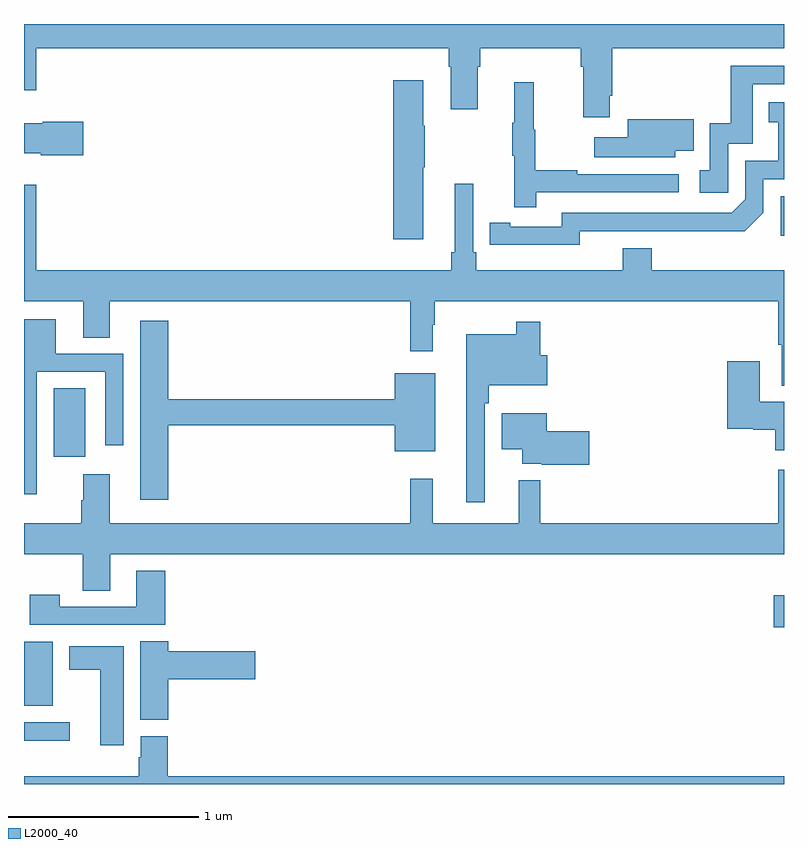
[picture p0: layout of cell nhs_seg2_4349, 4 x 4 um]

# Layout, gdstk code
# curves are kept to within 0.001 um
import gdstk
lib = gdstk.Library(unit=1e-6, precision=1e-09)
def R(c, l, rs):  # rectangles x0, y0, x1, y1
    for r in rs: c.add(gdstk.rectangle(r[:2], r[2:], *l))
def P(c, l, *ps):  # polygons
    for p in ps: c.add(gdstk.Polygon(p, *l))
L2000_40 = (2000, 40)

nhs_seg2_4349 = lib.new_cell('nhs_seg2_4349')
R(nhs_seg2_4349, L2000_40, [(347,608.027,347.242,608.124), (347,608.213,347.152,608.548), (350.946,608.624,351,608.794), (347.156,609.522,347.323,609.884), (350.982,610.686,351,610.893)])
P(nhs_seg2_4349, L2000_40, [(350.083,611.422),(350.096,611.422),(350.096,611.672),(351,611.672),(351,611.8),(347,611.8),(347,611.451),(347.065,611.451),(347.065,611.672),(349.235,611.672),(349.235,611.576),(349.247,611.576),(349.247,611.352),(349.387,611.352),(349.387,611.576),(349.4,611.576),(349.4,611.672),(349.931,611.672),(349.931,611.576),(349.943,611.576),(349.943,611.31),(350.083,611.31)],
  [(350.706,611.169),(350.835,611.169),(350.835,611.484),(351,611.484),(351,611.58),(350.719,611.58),(350.719,611.278),(350.61,611.278),(350.61,611.031),(350.556,611.031),(350.556,610.911),(350.706,610.911)],
  [(349.102,611.047),(349.11,611.047),(349.11,611.264),(349.102,611.264),(349.102,611.503),(348.944,611.503),(348.944,610.668),(349.102,610.668)],
  [(349.697,610.914),(350.446,610.914),(350.446,611.01),(349.913,611.01),(349.913,611.03),(349.69,611.03),(349.69,611.244),(349.682,611.244),(349.682,611.494),(349.58,611.494),(349.58,611.281),(349.569,611.281),(349.569,611.107),(349.58,611.107),(349.58,610.836),(349.697,610.836)],
  [(349.926,610.71),(350.794,610.709),(350.892,610.806),(350.892,610.983),(351,610.983),(351,611.389),(350.92,611.389),(350.92,611.283),(350.969,611.283),(350.969,611.079),(350.796,611.079),(350.796,610.878),(350.724,610.806),(349.83,610.806),(349.83,610.734),(349.558,610.734),(349.558,610.754),(349.45,610.754),(349.45,610.638),(349.926,610.637)],
  [(350.428,611.132),(350.525,611.132),(350.525,611.298),(350.177,611.298),(350.177,611.203),(350.001,611.203),(350.001,611.099),(350.428,611.099)],
  [(347.311,611.286),(347.098,611.286),(347.098,611.278),(347,611.278),(347,611.12),(347.088,611.12),(347.088,611.108),(347.311,611.108)],
  [(351,610.504),(350.303,610.504),(350.303,610.621),(350.15,610.621),(350.15,610.504),(349.379,610.504),(349.379,610.6),(349.365,610.6),(349.365,610.96),(349.268,610.96),(349.268,610.6),(349.249,610.6),(349.249,610.504),(347.065,610.504),(347.065,610.954),(347,610.954),(347,610.34),(347.312,610.34),(347.312,610.15),(347.452,610.15),(347.452,610.34),(349.033,610.34),(349.033,610.077),(349.15,610.077),(349.15,610.217),(349.162,610.217),(349.162,610.34),(350.97,610.34),(350.97,610.111),(350.987,610.111),(350.987,609.896),(351,609.896)],
  [(347.067,609.969),(347.427,609.969),(347.427,609.582),(347.523,609.582),(347.523,610.065),(347.167,610.065),(347.167,610.246),(347,610.246),(347,609.326),(347.067,609.326)],
  [(347.759,609.688),(348.95,609.688),(348.95,609.551),(349.165,609.551),(349.165,609.961),(348.95,609.961),(348.95,609.824),(347.759,609.824),(347.759,610.237),(347.612,610.237),(347.612,609.297),(347.759,609.297)],
  [(349.425,609.803),(349.445,609.803),(349.445,609.899),(349.753,609.899),(349.753,610.057),(349.718,610.057),(349.718,610.234),(349.59,610.234),(349.59,610.168),(349.328,610.168),(349.328,609.282),(349.425,609.282)],
  [(351,609.811),(350.872,609.811),(350.872,610.024),(350.702,610.024),(350.702,609.671),(350.838,609.671),(350.838,609.664),(350.954,609.664),(350.954,609.557),(351,609.557)],
  [(349.975,609.656),(349.75,609.656),(349.75,609.751),(349.514,609.751),(349.514,609.563),(349.622,609.563),(349.622,609.485),(349.726,609.485),(349.726,609.48),(349.975,609.48)],
  [(347.455,609.008),(351,609.008),(351,609.454),(350.97,609.454),(350.97,609.172),(349.716,609.172),(349.716,609.4),(349.604,609.4),(349.604,609.172),(349.151,609.172),(349.151,609.406),(349.033,609.406),(349.033,609.172),(347.452,609.172),(347.452,609.43),(347.312,609.43),(347.312,609.293),(347.3,609.293),(347.3,609.172),(347,609.172),(347,609.008),(347.308,609.008),(347.308,608.818),(347.455,608.818)],
  [(347.744,608.923),(347.591,608.923),(347.591,608.733),(347.187,608.733),(347.187,608.797),(347.031,608.797),(347.031,608.637),(347.744,608.637)],
  [(347.759,608.351),(348.217,608.351),(348.217,608.498),(347.759,608.498),(347.759,608.552),(347.612,608.552),(347.612,608.137),(347.759,608.137)],
  [(347.524,608.524),(347.237,608.524),(347.237,608.402),(347.402,608.402),(347.402,608.004),(347.524,608.004)],
  [(351,607.84),(347.756,607.84),(347.756,608.052),(347.615,608.052),(347.615,607.941),(347.603,607.941),(347.603,607.84),(347,607.84),(347,607.8),(351,607.8)])

lib.write_gds('nhs_seg2_4349.gds')
